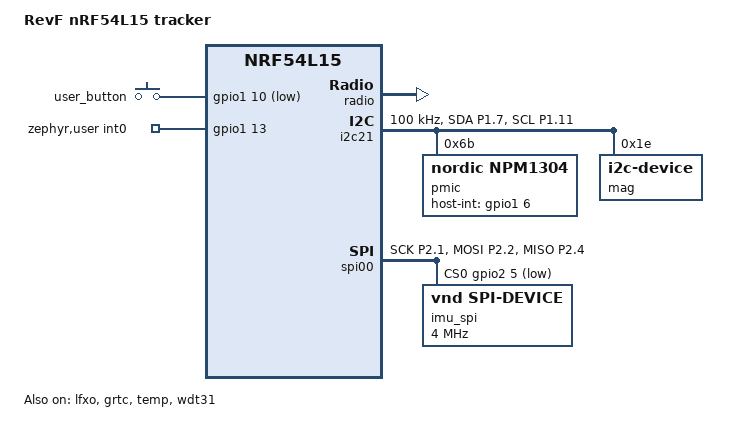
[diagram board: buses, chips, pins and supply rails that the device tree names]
/*
 * RevF nRF54L15 tracker (HJSIP nRF54L15 module, nPM1304 PMIC, 1.8 V rail).
 * Pin contract: hardware/RevF/PIN_ASSIGNMENTS.md in the nrf54 workspace repo.
 *
 * SPDX-License-Identifier: Apache-2.0
 */

/dts-v1/;
#include <nordic/nrf54l15_cpuapp.dtsi>
#include <zephyr/dt-bindings/gpio/gpio.h>
#include <zephyr/dt-bindings/pinctrl/nrf-pinctrl.h>

/ {
	model = "RevF nRF54L15 tracker";
	compatible = "local,tracker-revf";

	chosen {
		zephyr,sram = &cpuapp_sram;
		zephyr,flash = &cpuapp_rram;
		zephyr,flash-controller = &rram_controller;
		zephyr,code-partition = &slot0_partition;
	};

	buttons {
		compatible = "gpio-keys";
		/* MCU user button: tap events and hold-to-pair. Power is the
		 * separate nPM1304 SHPHLD button, which is not wired to the MCU. */
		user_button: button {
			gpios = <&gpio1 10 (GPIO_ACTIVE_LOW | GPIO_PULL_UP)>;
		};
	};

	aliases {
		sw0 = &user_button;
		watchdog0 = &wdt31;
	};

	zephyr,user {
		/* LSM6DSV INT1 (P1.13); the driver selects pull/sense for WOM. */
		int0-gpios = <&gpio1 13 0>;
		/* Status LED: green D1 on nPM1304 LED1 (host mode), on/off only. */
		led-capability = "mono-gpio";
		led-device = <&pmic_leds>;
		led-device-channel = <1>;
		led-channel-colors = <2>;
		led-channel-weights = <10000>;
	};
};

&cpuapp_sram {
	status = "okay";
};

/* 32.768 kHz crystal inside the HJSIP module on P1.00/P1.01: 9 pF load,
 * +/-20 ppm (vendor data), using the nRF54L15's internal load caps. */
&lfxo {
	load-capacitors = "internal";
	load-capacitance-femtofarad = <9000>;
	status = "okay";
};

&grtc {
	owned-channels = <0 1 2 3 4 5 6 7 8 9 10 11>;
	child-owned-channels = <3 4 7 8 9 10 11>;
	status = "okay";
};

&clock {
	status = "okay";
};

&gpio1 {
	status = "okay";
};

&gpio2 {
	status = "okay";
};

&gpiote20 {
	status = "okay";
};

&radio {
	status = "okay";
};

&temp {
	status = "okay";
};

&wdt31 {
	status = "okay";
};

&pinctrl {
	tracker_i2c: tracker_i2c {
		group1 {
			psels = <NRF_PSEL(TWIM_SDA, 1, 7)>, <NRF_PSEL(TWIM_SCL, 1, 11)>;
		};
	};

	tracker_i2c_sleep: tracker_i2c_sleep {
		group1 {
			psels = <NRF_PSEL(TWIM_SDA, 1, 7)>, <NRF_PSEL(TWIM_SCL, 1, 11)>;
			low-power-enable;
		};
	};

	tracker_spi: tracker_spi {
		group1 {
			psels = <NRF_PSEL(SPIM_SCK, 2, 1)>, <NRF_PSEL(SPIM_MOSI, 2, 2)>;
			nordic,drive-mode = <NRF_DRIVE_H0H1>;
		};
		group2 {
			psels = <NRF_PSEL(SPIM_MISO, 2, 4)>;
		};
	};

	tracker_spi_sleep: tracker_spi_sleep {
		group1 {
			psels = <NRF_PSEL(SPIM_SCK, 2, 1)>, <NRF_PSEL(SPIM_MOSI, 2, 2)>,
				<NRF_PSEL(SPIM_MISO, 2, 4)>;
			low-power-enable;
		};
	};
};

/* Shared 100 kHz bus: nPM1304 (0x6b) and LIS2MDL (0x1e). 400 kHz is not
 * qualified (rise time unmeasured). */
&i2c21 {
	status = "okay";
	clock-frequency = <I2C_BITRATE_STANDARD>;
	pinctrl-0 = <&tracker_i2c>;
	pinctrl-1 = <&tracker_i2c_sleep>;
	pinctrl-names = "default", "sleep";

	pmic: npm1304@6b {
		compatible = "nordic,npm1304";
		reg = <0x6b>;
		/* GPIO0 -> P1.06, active-high push-pull IRQ. */
		host-int-gpios = <&gpio1 6 GPIO_ACTIVE_HIGH>;
		pmic-int-pin = <0>;
		ship-to-active-time-ms = <96>;
		long-press-reset = "one-button";

		/* Charging policy for the protected 401220 80 mAh / 4.2 V cell,
		 * validated on hardware: 40 mA, 4.2 V (4.1 V warm), 100 mA VBUS
		 * input, 10k B3380 NTC with a 5..40 C guardband. The SDK driver
		 * reapplies this on every boot. */
		pmic_charger: charger {
			compatible = "nordic,npm1304-charger";
			charging-enable;
			term-microvolt = <4200000>;
			term-warm-microvolt = <4100000>;
			current-microamp = <40000>;
			vbus-limit-microamp = <100000>;
			thermistor-ohms = <10000>;
			thermistor-beta = <3380>;
			thermistor-cold-millidegrees = <5000>;
			thermistor-cool-millidegrees = <10000>;
			thermistor-warm-millidegrees = <35000>;
			thermistor-hot-millidegrees = <40000>;
			dietemp-stop-millidegrees = <85000>;
			dietemp-resume-millidegrees = <75000>;
		};

		/* Red D2 = LED0 (autonomous charging indicator), green D1 =
		 * LED1 (host status). */
		pmic_leds: leds {
			compatible = "nordic,npm1304-led";
			nordic,led0-mode = "charging";
			nordic,led1-mode = "host";
			nordic,led2-mode = "error";
		};
	};

	mag: mag@1e {
		compatible = "i2c-device";
		reg = <0x1e>;
	};
};

/* LSM6DSV on SPIM00. 4 MHz is the qualified ceiling at 1.8 V (61 ns raw
 * MISO setup margin; 8 MHz is negative). Keep >= 1 us CS lead/trail. */
&spi00 {
	status = "okay";
	max-frequency = <DT_FREQ_M(4)>;
	cs-gpios = <&gpio2 5 GPIO_ACTIVE_LOW>;
	pinctrl-0 = <&tracker_spi>;
	pinctrl-1 = <&tracker_spi_sleep>;
	pinctrl-names = "default", "sleep";

	imu_spi: imu@0 {
		compatible = "vnd,spi-device";
		reg = <0>;
		spi-max-frequency = <DT_FREQ_M(4)>;
		spi-cs-setup-delay-ns = <1000>;
		spi-cs-hold-delay-ns = <1000>;
	};
};

/* Replaced by the application's partition overlay (dts/partitions). */
#include <vendor/nordic/nrf54l15_cpuapp_partition.dtsi>
